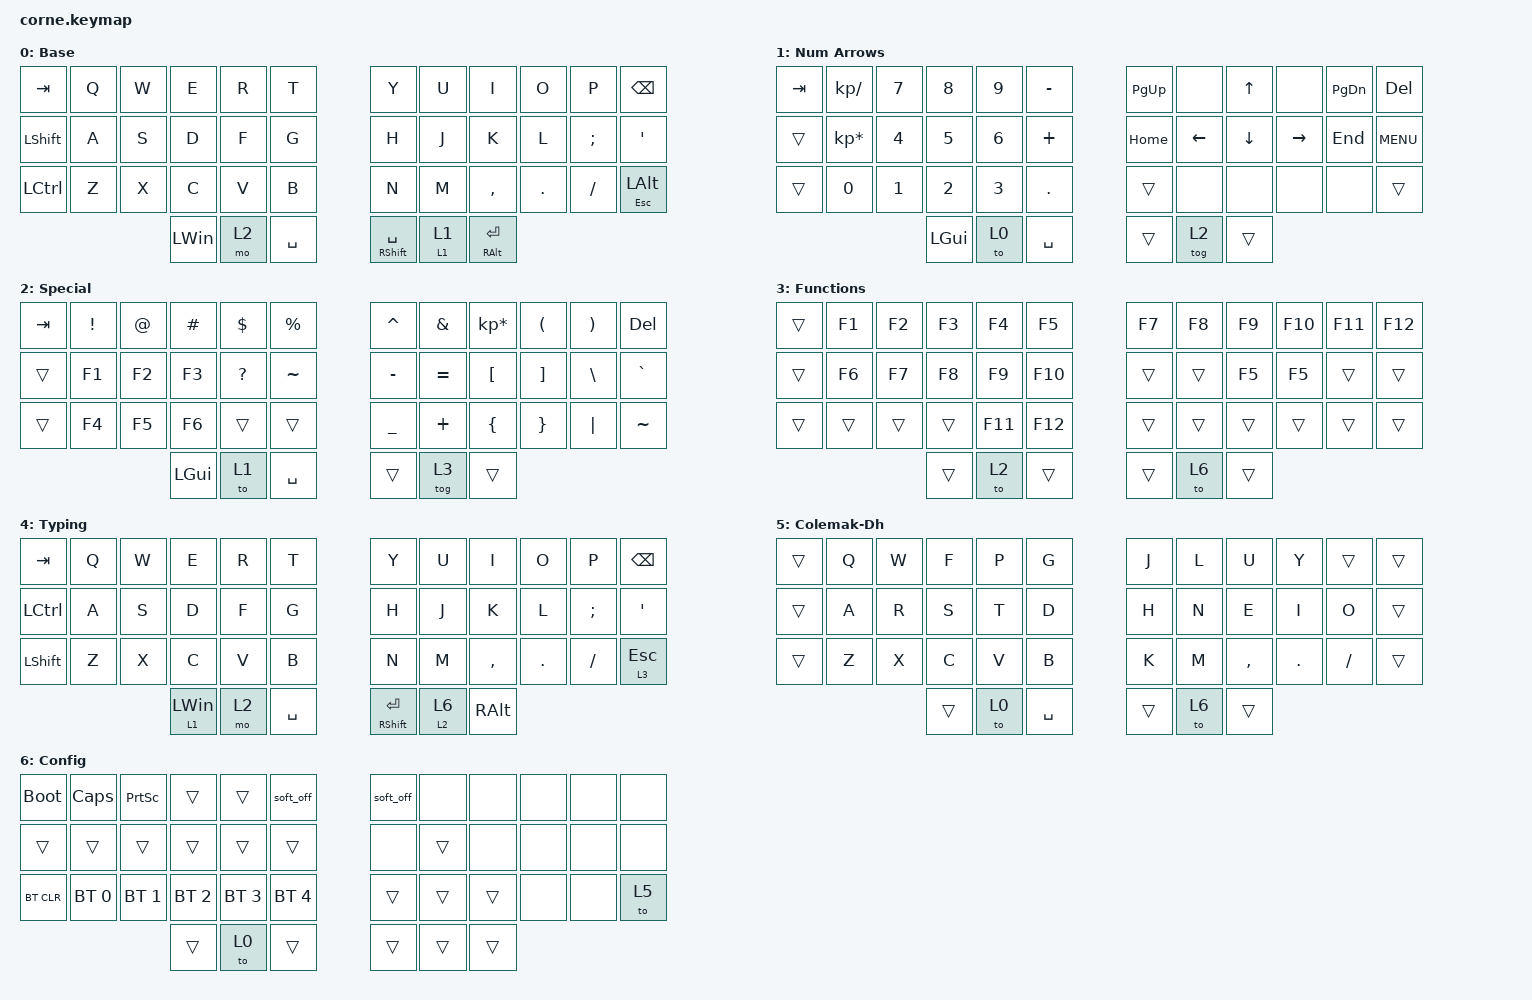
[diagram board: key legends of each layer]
/*
 * Copyright (c) 2020 The ZMK Contributors
 *
 * SPDX-License-Identifier: MIT
 */

#include <behaviors.dtsi>
#include <dt-bindings/zmk/bt.h>
#include <dt-bindings/zmk/keys.h>

/ {
    combos {
        compatible = "zmk,combos";

        delete {
            bindings = <&kp DELETE>;
            key-positions = <10 11>;
        };

        bt1 {
            bindings = <&bt BT_SEL 0>;
            key-positions = <25 1>;
        };

        bt2 {
            bindings = <&bt BT_SEL 1>;
            key-positions = <26 2>;
        };

        bt3 {
            bindings = <&bt BT_SEL 2>;
            key-positions = <27 3>;
        };

        fn_audio_out {
            bindings = <&macro_audioout>;
            key-positions = <11 40>;
        };

        fn_no_camera {
            bindings = <&macro_no_camera>;
            key-positions = <10 40>;
        };

        fn_mute {
            bindings = <&macro_mute>;
            key-positions = <9 40>;
        };

        home {
            bindings = <&kp HOME>;
            key-positions = <7 8>;
        };

        end {
            bindings = <&kp END>;
            key-positions = <31 32>;
        };

        righShift {
            bindings = <&kp RIGHT_SHIFT>;
            key-positions = <19 20>;
        };

        lefftShift {
            bindings = <&kp LSHFT>;
            key-positions = <16 15>;
        };
    };

    macros {
        macro_audioout: macro_audioout {
            compatible = "zmk,behavior-macro";
            #binding-cells = <0>;
            bindings = <&none &kp LC(LG(V))>;
            label = "MACRO_AUDIOOUT";
        };

        macro_mute: macro_mute {
            compatible = "zmk,behavior-macro";
            #binding-cells = <0>;
            bindings = <&none &kp LC(LS(M))>;
            label = "MACRO_MUTE";
        };

        macro_no_camera: macro_no_camera {
            compatible = "zmk,behavior-macro";
            #binding-cells = <0>;
            bindings = <&none &kp LC(LS(O))>;
            label = "MACRO_NO_CAMERA";
        };

        macro_base_layer: macro_base_layer {
            compatible = "zmk,behavior-macro";
            #binding-cells = <0>;
            bindings = <&none &to 0>;
            label = "MACRO_BASE_LAYER";
        };
    };

    behaviors {
        layerTapHold: layerTapHold {
            compatible = "zmk,behavior-hold-tap";
            label = "LAYERTAPHOLD";
            bindings = <&mo>, <&to>;

            #binding-cells = <2>;
            tapping-term-ms = <200>;
        };

        tapKeyPressHoldMomLayer: tapKeyPressHoldMomLayer {
            compatible = "zmk,behavior-hold-tap";
            label = "TAPKEYPRESSHOLDMOMLAYER";
            bindings = <&mo>, <&kp>;

            #binding-cells = <2>;
            tapping-term-ms = <200>;
        };

        stickyTapHold: stickyTapHold {
            compatible = "zmk,behavior-hold-tap";
            label = "STICKYTAPHOLD";
            bindings = <&mo>, <&sk>;

            #binding-cells = <2>;
            tapping-term-ms = <200>;
        };
    };

    keymap {
        compatible = "zmk,keymap";

        base_layer {
            // -----------------------------------------------------------------------------------------
            // |  TAB |  Q  |  W  |  E  |  R  |  T  |   |  Y  |  U   |  I  |  O  |  P  | BKSP |
            // | CTRL |  A  |  S  |  D  |  F  |  G  |   |  H  |  J   |  K  |  L  |  ;  |  '   |
            // | SHFT |  Z  |  X  |  C  |  V  |  B  |   |  N  |  M   |  ,  |  .  |  /  | ESC  |
            //                    | GUI | LWR | SPC |   | ENT | RSE  | ALT |

            display-name = "Base";
            bindings = <
&kp TAB         &kp Q  &kp W  &kp E         &kp R  &kp T        &kp Y                  &kp U              &kp I                &kp O    &kp P     &kp BSPC
&kp LEFT_SHIFT  &kp A  &kp S  &kp D         &kp F  &kp G        &kp H                  &kp J              &kp K                &kp L    &kp SEMI  &kp SQT
&kp LCTRL       &kp Z  &kp X  &kp C         &kp V  &kp B        &kp N                  &kp M              &kp COMMA            &kp DOT  &kp FSLH  &mt ESC LEFT_ALT
                              &kp LEFT_WIN  &mo 2  &kp SPACE    &mt RIGHT_SHIFT SPACE  &layerTapHold 1 1  &mt RIGHT_ALT ENTER
            >;
        };

        lower_layer {
            // -----------------------------------------------------------------------------------------
            // |  TAB |  1  |  2  |  3  |  4  |  5  |   |  6  |  7  |  8  |  9  |  0  | BKSP |
            // | BTCLR| BT1 | BT2 | BT3 | BT4 | BT5 |   | LFT | DWN |  UP | RGT |     |      |
            // | SHFT |     |     |     |     |     |   |     |     |     |     |     |      |
            //                    | GUI |     | SPC |   | ENT |     | ALT |

            display-name = "Num Arrows";
            bindings = <
&kp TAB  &kp KP_DIVIDE    &kp NUMBER_7  &kp NUMBER_8  &kp NUMBER_9  &kp MINUS     &kp PAGE_UP  &none           &kp UP_ARROW    &none            &kp PAGE_DOWN  &kp DELETE
&trans   &kp KP_MULTIPLY  &kp NUMBER_4  &kp NUMBER_5  &kp NUMBER_6  &kp PLUS      &kp HOME     &kp LEFT_ARROW  &kp DOWN_ARROW  &kp RIGHT_ARROW  &kp END        &kp C_MENU
&trans   &kp NUMBER_0     &kp NUMBER_1  &kp NUMBER_2  &kp NUMBER_3  &kp PERIOD    &trans       &none           &none           &none            &none          &trans
                                        &kp LGUI      &to 0         &kp SPACE     &trans       &tog 2          &trans
            >;
        };

        raise_layer {
            // -----------------------------------------------------------------------------------------
            // |  TAB |  !  |  @  |  #  |  $  |  %  |   |  ^  |  &  |  *  |  (  |  )  | BKSP |
            // | CTRL |     |     |     |     |     |   |  -  |  =  |  [  |  ]  |  \  |  `   |
            // | SHFT |     |     |     |     |     |   |  _  |  +  |  {  |  }  | "|" |  ~   |
            //                    | GUI |     | SPC |   | ENT |     | ALT |

            display-name = "Special";
            bindings = <
&kp TAB  &kp EXCL  &kp AT  &kp HASH  &kp DLLR      &kp PRCNT    &kp CARET  &kp AMPS   &kp KP_MULTIPLY  &kp LPAR  &kp RPAR  &kp DEL
&trans   &kp F1    &kp F2  &kp F3    &kp QUESTION  &kp TILDE    &kp MINUS  &kp EQUAL  &kp LBKT         &kp RBKT  &kp BSLH  &kp GRAVE
&trans   &kp F4    &kp F5  &kp F6    &trans        &trans       &kp UNDER  &kp PLUS   &kp LBRC         &kp RBRC  &kp PIPE  &kp TILDE
                           &kp LGUI  &to 1         &kp SPACE    &trans     &tog 3     &trans
            >;
        };

        functions {
            bindings = <
&trans  &kp F1  &kp F2  &kp F3  &kp F4   &kp F5     &kp F7  &kp F8  &kp F9  &kp F10  &kp F11  &kp F12
&trans  &kp F6  &kp F7  &kp F8  &kp F9   &kp F10    &trans  &trans  &kp F5  &kp F5   &trans   &trans
&trans  &trans  &trans  &trans  &kp F11  &kp F12    &trans  &trans  &trans  &trans   &trans   &trans
                        &trans  &to 2    &trans     &trans  &to 6   &trans
            >;

            label = "Functions";
        };

        typing {
            display-name = "Typing";
            bindings = <
&kp TAB    &kp Q  &kp W  &kp E                      &kp R  &kp T        &kp Y                  &kp U              &kp I          &kp O    &kp P     &kp BSPC
&kp LCTRL  &kp A  &kp S  &kp D                      &kp F  &kp G        &kp H                  &kp J              &kp K          &kp L    &kp SEMI  &kp SQT
&kp LSHFT  &kp Z  &kp X  &kp C                      &kp V  &kp B        &kp N                  &kp M              &kp COMMA      &kp DOT  &kp FSLH  &tapKeyPressHoldMomLayer 3 ESCAPE
                         &stickyTapHold 1 LEFT_WIN  &mo 2  &kp SPACE    &mt RIGHT_SHIFT ENTER  &layerTapHold 2 6  &kp RIGHT_ALT
            >;
        };

        colemakdh {
            bindings = <
&trans  &kp Q  &kp W  &kp F   &kp P  &kp G        &kp J   &kp L  &kp U      &kp Y    &trans    &trans
&trans  &kp A  &kp R  &kp S   &kp T  &kp D        &kp H   &kp N  &kp E      &kp I    &kp O     &trans
&trans  &kp Z  &kp X  &kp C   &kp V  &kp B        &kp K   &kp M  &kp COMMA  &kp DOT  &kp FSLH  &trans
                      &trans  &to 0  &kp SPACE    &trans  &to 6  &trans
            >;

            label = "Colemak-Dh";
        };

        config {
            bindings = <
&bootloader  &kp CLCK      &kp PRINTSCREEN  &trans        &trans        &soft_off       &soft_off  &none   &none   &none  &none  &none
&trans       &trans        &trans           &trans        &trans        &trans          &none      &trans  &none   &none  &none  &none
&bt BT_CLR   &bt BT_SEL 0  &bt BT_SEL 1     &bt BT_SEL 2  &bt BT_SEL 3  &bt BT_SEL 4    &trans     &trans  &trans  &none  &none  &to 5
                                            &trans        &to 0         &trans          &trans     &trans  &trans
            >;

            label = "Config";
        };
    };
};
